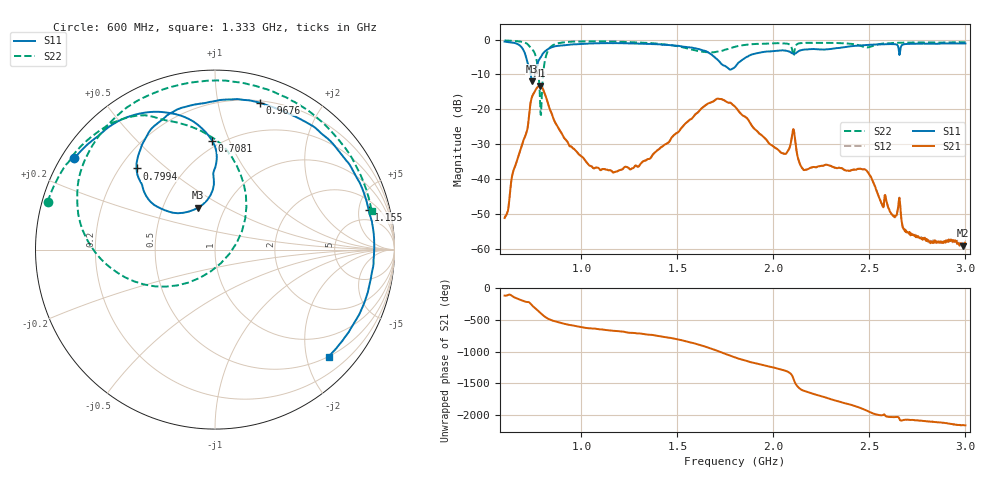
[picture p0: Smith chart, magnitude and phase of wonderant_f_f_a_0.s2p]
#  HZ  S  RI  R  50.00
! Rohde & Schwarz ZVB8 2Ports - Version 2.81 - 1145.1010k08 SN: 100113
! Date: 2016-05-17 22:37:50
! Measurements: S11 S21 S12 S22
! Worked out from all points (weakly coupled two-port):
!   1000 points, 600 MHz to 3 GHz, reference 50 ohm
!   highest |S21| = -13.20 dB at 782.6 MHz (marker M1); lowest = -59.0 dB at 2.986 GHz (marker M2)
!   lowest |S11| = -12.0 dB at 744.1 MHz (marker M3), VSWR 1.67, Z = 37.5 + j18.7 ohm
!   |S11| at or under -10 dB: 735.9 MHz to 756.8 MHz (20.87 MHz wide, 2.8 % of centre)
!   |S22| runs from -21.6 to -0.3 dB; largest |S21 - S12| = 0.0026
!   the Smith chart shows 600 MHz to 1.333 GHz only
!   S11 on the Smith chart (normalised r, x): 600 MHz: 0.04, +0.30; 708.1 MHz: 0.45, +0.87; 799.4 MHz: 0.27, +0.40; 967.6 MHz: 0.22, +1.33; 1.155 GHz: 3.14, +6.34; 1.333 GHz: 0.50, -2.43
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6e8  -0.7838 0.5086  -0.00138 -0.00241  -0.00145 -0.00245  -0.9329 0.2656
7.081081e8  -0.0156 0.6069  -0.0342 0.024  -0.0343 0.0239  -0.5312 0.7213
7.441441e8  -0.0933 0.2333  0.0186 0.1538  0.0177 0.1537  -0.1845 0.7004
7.825826e8  -0.4027 0.3459  0.2044 -0.0781  0.205 -0.0759  0.1505 0.103
7.993994e8  -0.4373 0.4521  0.0748 -0.1819  0.0758 -0.1816  -0.211 -0.1996
8.45045e8  -0.3178 0.7055  -0.0731 -0.0482  -0.073 -0.0482  -0.7667 0.2518
9.675676e8  0.2489 0.8188  -0.0142 0.0219  -0.0143 0.0218  -0.3931 0.8492
1.001201e9  0.3997 0.7628  -0.00529 0.0204  -0.00544 0.0204  -0.2518 0.9043
1.154955e9  0.8556 0.2211  0.00885 0.00992  0.00875 0.0099  0.3892 0.8513
1.332733e9  0.633 -0.5964  0.0182 -0.00254  0.0183 -0.00248  0.8739 0.2123
1.4e9  0.3493 -0.7802  0.0217 -0.015  0.0218 -0.015  0.8602 -0.1277
1.616216e9  -0.5863 -0.4232  -0.0962 -0.00953  -0.0961 -0.00972  0.1387 -0.6598
1.801201e9  -0.4055 -0.0345  0.1055 -0.0256  0.1055 -0.0251  -0.4454 -0.6508
1.902102e9  -0.5348 0.3293  -0.00941 -0.0514  -0.00902 -0.0514  -0.8067 -0.3105
2.027027e9  0.024 0.6949  -0.0254 0.00521  -0.0255 0.0052  -0.8421 0.2734
2.103904e9  0.4038 0.4798  0.0497 0.0156  0.0494 0.0159  -0.4531 0.3587
2.147147e9  0.587 0.3948  -0.014 -0.00444  -0.0141 -0.00455  -0.6402 0.6213
2.2e9  0.7276 0.0793  -0.0116 0.0091  -0.0117 0.00902  -0.4464 0.7779
2.406607e9  0.2215 -0.7728  0.0104 -0.00848  0.0104 -0.00845  0.3483 0.794
2.601201e9  -0.5998 -0.6182  -0.00252 0.00283  -0.00252 0.00277  0.7722 0.4292
2.985586e9  -0.6827 0.5531  0.00112 2.22e-05  0.00122 1.83e-05  0.5666 -0.7158
3e9  -0.653 0.5869  0.00118 -3.08e-05  0.0012 -3.24e-05  0.5375 -0.7389
